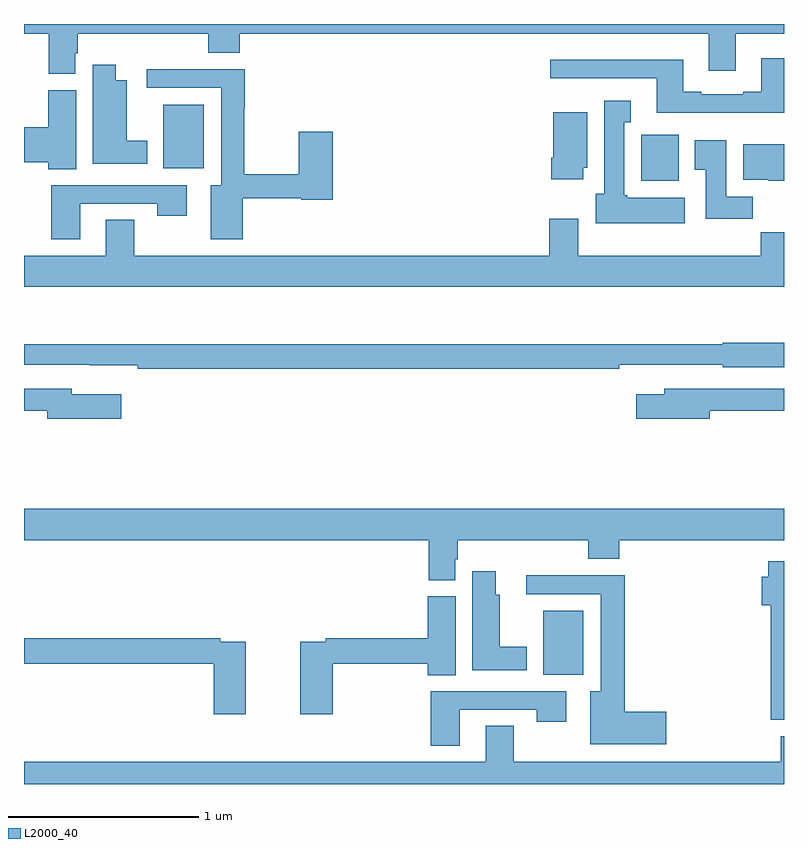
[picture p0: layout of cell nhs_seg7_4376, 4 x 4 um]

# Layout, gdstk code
import gdstk
lib = gdstk.Library(unit=1e-6, precision=1e-09)
def R(c, l, rs):  # rectangles x0, y0, x1, y1
    for r in rs: c.add(gdstk.rectangle(r[:2], r[2:], *l))
def P(c, l, *ps):  # polygons
    for p in ps: c.add(gdstk.Polygon(p, *l))
L2000_40 = (2000, 40)

nhs_seg7_4376 = lib.new_cell('nhs_seg7_4376')
R(nhs_seg7_4376, L2000_40, [(389.732,998.576,389.944,998.911), (390.248,1001.174,390.445,1001.416), (387.734,1001.24,387.946,1001.575)])
P(nhs_seg7_4376, L2000_40, [(387.271,1001.847),(387.284,1001.847),(387.284,1001.948),(387.971,1001.948),(387.971,1001.849),(388.136,1001.849),(388.136,1001.948),(390.605,1001.948),(390.605,1001.754),(390.745,1001.754),(390.745,1001.948),(391,1001.948),(391,1002),(387,1002),(387,1001.948),(387.131,1001.948),(387.131,1001.737),(387.271,1001.737)],
  [(391,1001.821),(390.881,1001.821),(390.881,1001.644),(390.785,1001.644),(390.785,1001.631),(390.565,1001.631),(390.565,1001.644),(390.469,1001.644),(390.469,1001.812),(389.769,1001.812),(389.769,1001.715),(390.329,1001.715),(390.329,1001.534),(391,1001.534)],
  [(387.649,1001.386),(387.541,1001.386),(387.541,1001.704),(387.484,1001.704),(387.484,1001.785),(387.362,1001.785),(387.362,1001.264),(387.649,1001.264)],
  [(388.15,1001.082),(388.458,1001.082),(388.458,1001.074),(388.625,1001.074),(388.625,1001.434),(388.447,1001.434),(388.447,1001.21),(388.158,1001.21),(388.158,1001.557),(388.163,1001.557),(388.163,1001.762),(387.645,1001.762),(387.645,1001.664),(388.037,1001.664),(388.037,1001.152),(387.983,1001.152),(387.983,1000.866),(388.15,1000.866)],
  [(387.274,1001.652),(387.128,1001.652),(387.128,1001.456),(387,1001.456),(387,1001.273),(387.128,1001.273),(387.128,1001.236),(387.274,1001.236)],
  [(390.478,1001.086),(390.174,1001.086),(390.174,1001.1),(390.16,1001.1),(390.16,1001.483),(390.193,1001.483),(390.193,1001.596),(390.053,1001.596),(390.053,1001.106),(390.008,1001.106),(390.008,1000.952),(390.478,1000.952)],
  [(389.944,1001.244),(389.965,1001.244),(389.965,1001.536),(389.786,1001.536),(389.786,1001.296),(389.774,1001.296),(389.774,1001.184),(389.944,1001.184)],
  [(390.836,1001.092),(390.697,1001.092),(390.697,1001.389),(390.53,1001.389),(390.53,1001.233),(390.587,1001.233),(390.587,1000.974),(390.836,1000.974)],
  [(391,1001.368),(390.785,1001.368),(390.785,1001.18),(390.918,1001.18),(390.918,1001.174),(391,1001.174)],
  [(387.295,1001.055),(387.7,1001.055),(387.7,1000.992),(387.856,1000.992),(387.856,1001.151),(387.143,1001.151),(387.143,1000.866),(387.295,1000.866)],
  [(391,1000.904),(390.877,1000.904),(390.877,1000.78),(389.917,1000.78),(389.917,1000.975),(389.765,1000.975),(389.765,1000.78),(387.579,1000.78),(387.579,1000.97),(387.431,1000.97),(387.431,1000.78),(387,1000.78),(387,1000.616),(391,1000.616)],
  [(390.134,1000.206),(390.678,1000.206),(390.678,1000.193),(391,1000.193),(391,1000.323),(390.678,1000.323),(390.678,1000.315),(387,1000.315),(387,1000.206),(387.346,1000.206),(387.346,1000.205),(387.598,1000.205),(387.598,1000.186),(390.134,1000.186)],
  [(387.511,1000.051),(387.25,1000.051),(387.25,1000.08),(387,1000.08),(387,999.964),(387.122,999.964),(387.122,999.922),(387.511,999.922)],
  [(390.61,999.964),(391,999.964),(391,1000.08),(390.371,1000.08),(390.371,1000.051),(390.222,1000.051),(390.222,999.922),(390.61,999.922)],
  [(389.269,999.183),(389.282,999.183),(389.282,999.284),(389.969,999.284),(389.969,999.185),(390.134,999.185),(390.134,999.284),(391,999.284),(391,999.448),(387,999.448),(387,999.284),(389.129,999.284),(389.129,999.073),(389.269,999.073)],
  [(391,999.172),(390.918,999.172),(390.918,999.09),(390.884,999.09),(390.884,998.942),(390.931,998.942),(390.931,998.337),(391,998.337)],
  [(389.647,998.722),(389.503,998.722),(389.503,998.997),(389.482,998.997),(389.482,999.121),(389.36,999.121),(389.36,998.6),(389.647,998.6)],
  [(390.379,998.381),(390.161,998.381),(390.161,999.098),(389.643,999.098),(389.643,999),(390.035,999),(390.035,998.488),(389.981,998.488),(389.981,998.21),(390.379,998.21)],
  [(388.625,998.632),(389.126,998.632),(389.126,998.572),(389.272,998.572),(389.272,998.988),(389.126,998.988),(389.126,998.768),(388.588,998.768),(388.588,998.748),(388.454,998.748),(388.454,998.367),(388.625,998.367)],
  [(388.168,998.748),(388.034,998.748),(388.034,998.768),(387,998.768),(387,998.632),(387.998,998.632),(387.998,998.367),(388.168,998.367)],
  [(389.293,998.391),(389.698,998.391),(389.698,998.328),(389.854,998.328),(389.854,998.487),(389.141,998.487),(389.141,998.202),(389.293,998.202)],
  [(391,998.252),(390.983,998.252),(390.983,998.116),(389.577,998.116),(389.577,998.306),(389.429,998.306),(389.429,998.116),(387,998.116),(387,998),(391,998)])

lib.write_gds('nhs_seg7_4376.gds')
